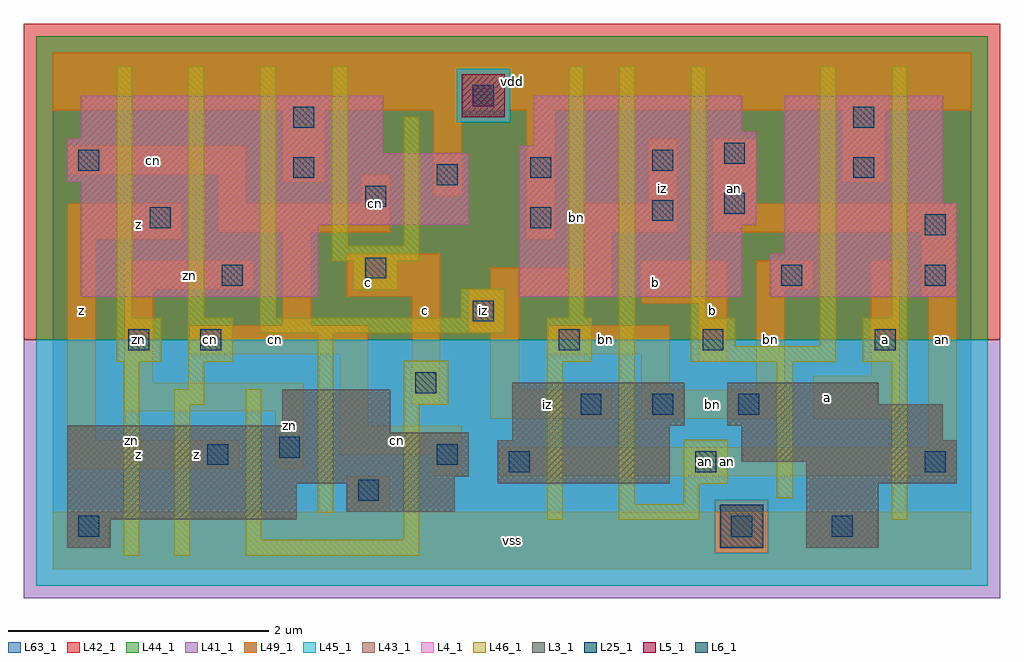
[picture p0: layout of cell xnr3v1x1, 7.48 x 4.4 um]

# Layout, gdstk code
import gdstk
lib = gdstk.Library(unit=1e-6, precision=1e-09)
def R(c, l, rs):  # rectangles x0, y0, x1, y1
    for r in rs: c.add(gdstk.rectangle(r[:2], r[2:], *l))
def A(c, l, x, y, w, h, nx, ny, dx, dy):  # array of equal rectangles
    R(c, l, [(x+i*dx, y+j*dy, x+i*dx+w, y+j*dy+h) for i in range(nx) for j in range(ny)])
L3_1 = (3, 1)
L4_1 = (4, 1)
L5_1 = (5, 1)
L6_1 = (6, 1)
L25_1 = (25, 1)
L41_1 = (41, 1)
L42_1 = (42, 1)
L43_1 = (43, 1)
L44_1 = (44, 1)
L45_1 = (45, 1)
L46_1 = (46, 1)
L49_1 = (49, 1)
L63_1 = (63, 1)

xnr3v1x1 = lib.new_cell('xnr3v1x1')
R(xnr3v1x1, L3_1, [(0.11,0.165,0.44,0.385), (5.775,0.165,6.325,0.66), (0.11,0.385,1.87,0.66), (2.255,0.44,3.08,0.66), (0.11,0.66,3.08,0.715), (3.41,0.66,4.73,0.99), (5.775,0.66,6.93,0.825), (0.11,0.715,3.19,1.045), (5.28,0.825,6.93,0.99), (3.52,0.99,4.73,1.1), (5.28,0.99,6.82,1.1), (0.11,1.045,2.585,1.1), (1.76,1.1,2.585,1.375), (3.52,1.1,4.84,1.43), (5.17,1.1,6.82,1.265), (5.17,1.265,6.325,1.43)])
R(xnr3v1x1, L4_1, [(0.22,2.09,2.035,2.64), (3.575,2.09,5.28,2.64), (5.5,2.09,6.93,2.42), (5.61,2.42,6.93,2.805), (0.22,2.64,3.19,2.97), (3.575,2.64,5.39,3.245), (5.61,2.805,6.82,3.63), (0.11,2.97,3.19,3.19), (0.11,3.19,2.53,3.3), (3.685,3.245,5.39,3.355), (0.22,3.3,2.53,3.63), (3.685,3.355,5.28,3.63)])
R(xnr3v1x1, L5_1, [(3.135,3.465,3.465,3.795)])
R(xnr3v1x1, L6_1, [(5.115,0.165,5.445,0.495)])
R(xnr3v1x1, L25_1, [(0.195,0.25,0.355,0.41), (5.2,0.25,5.36,0.41), (5.97,0.25,6.13,0.41), (2.34,0.525,2.5,0.685), (3.495,0.745,3.655,0.905), (4.925,0.745,5.085,0.905), (6.685,0.745,6.845,0.905), (1.185,0.8,1.345,0.96), (2.945,0.8,3.105,0.96), (1.735,0.855,1.895,1.015), (4.045,1.185,4.205,1.345), (4.595,1.185,4.755,1.345), (5.255,1.185,5.415,1.345), (2.78,1.35,2.94,1.51), (0.58,1.68,0.74,1.84), (1.13,1.68,1.29,1.84), (3.88,1.68,4.04,1.84), (4.98,1.68,5.14,1.84), (6.3,1.68,6.46,1.84), (3.22,1.9,3.38,2.06), (1.295,2.175,1.455,2.335), (5.585,2.175,5.745,2.335), (6.685,2.175,6.845,2.335), (2.395,2.23,2.555,2.39), (6.685,2.56,6.845,2.72), (0.745,2.615,0.905,2.775), (3.66,2.615,3.82,2.775), (4.595,2.67,4.755,2.83), (5.145,2.725,5.305,2.885), (2.395,2.78,2.555,2.94), (2.945,2.945,3.105,3.105), (1.845,3,2.005,3.16), (3.66,3,3.82,3.16), (6.135,3,6.295,3.16), (0.195,3.055,0.355,3.215), (4.595,3.055,4.755,3.215), (5.145,3.11,5.305,3.27), (1.845,3.385,2.005,3.545), (6.135,3.385,6.295,3.545), (3.22,3.55,3.38,3.71)])
R(xnr3v1x1, L41_1, [(-0.22,-0.22,7.26,1.76)])
R(xnr3v1x1, L42_1, [(-0.22,1.76,7.26,4.18)])
R(xnr3v1x1, L43_1, [(0.11,0.165,0.44,0.385), (5.115,0.165,5.445,0.495), (5.775,0.165,6.325,0.66), (0.11,0.385,1.87,0.66), (2.255,0.44,3.08,0.66), (0.11,0.66,3.08,0.715), (3.41,0.66,4.73,0.99), (5.775,0.66,6.93,0.825), (0.11,0.715,3.19,1.045), (5.28,0.825,6.93,0.99), (3.52,0.99,4.73,1.1), (5.28,0.99,6.82,1.1), (0.11,1.045,2.585,1.1), (1.76,1.1,2.585,1.375), (3.52,1.1,4.84,1.43), (5.17,1.1,6.82,1.265), (5.17,1.265,6.325,1.43), (0.22,2.09,2.035,2.64), (3.575,2.09,5.28,2.64), (5.5,2.09,6.93,2.42), (5.61,2.42,6.93,2.805), (0.22,2.64,3.19,2.97), (3.575,2.64,5.39,3.245), (5.61,2.805,6.82,3.63), (0.11,2.97,3.19,3.19), (0.11,3.19,2.53,3.3), (3.685,3.245,5.39,3.355), (0.22,3.3,2.53,3.63), (3.685,3.355,5.28,3.63), (3.135,3.465,3.465,3.795)])
R(xnr3v1x1, L44_1, [(5.075,0.125,5.485,0.535), (-0.125,1.76,7.165,3.425), (-0.125,3.425,3.095,3.835), (3.505,3.425,7.165,3.835), (-0.125,3.835,7.165,4.085)])
R(xnr3v1x1, L45_1, [(-0.125,-0.125,7.165,0.125), (-0.125,0.125,5.075,0.535), (5.485,0.125,7.165,0.535), (-0.125,0.535,7.165,1.76), (3.095,3.425,3.505,3.835)])
A(xnr3v1x1, L46_1, 0.49, 1.93, 0.12, 1.925, 3, 1, 0.55, 0)
R(xnr3v1x1, L46_1, [(0.545,0.105,0.665,1.59), (0.93,0.105,1.05,1.26), (1.48,0.105,2.81,0.225), (1.48,0.225,1.6,1.38), (2.69,0.225,2.81,1.26), (3.79,0.38,3.91,1.59), (4.34,0.38,4.955,0.5), (6.43,0.38,6.55,1.59), (2.03,0.435,2.15,1.81), (4.34,0.5,4.46,3.855), (4.835,0.5,4.955,0.655), (5.55,0.545,5.67,1.59), (4.835,0.655,5.175,0.995), (0.93,1.26,1.16,1.38), (2.69,1.26,3.03,1.6), (1.04,1.38,1.16,1.59), (0.49,1.59,0.83,1.93), (1.04,1.59,1.38,1.93), (3.79,1.59,4.13,1.93), (4.89,1.59,6,1.71), (6.21,1.59,6.55,1.93), (4.89,1.71,5.23,1.93), (5.88,1.71,6,3.855), (1.59,1.81,3.47,1.93), (3.13,1.93,3.47,2.15), (3.955,1.93,4.075,3.855), (4.89,1.93,5.01,3.855), (6.43,1.93,6.55,3.855), (2.305,2.14,2.645,2.36), (2.14,2.36,2.81,2.48), (2.14,2.48,2.26,3.855), (2.69,2.48,2.81,3.47)])
R(xnr3v1x1, L49_1, [(0,0,7.04,0.44), (2.255,0.44,2.585,0.715), (2.915,0.715,3.135,0.88), (3.41,0.715,6.93,0.935), (0.11,0.77,1.43,0.99), (1.705,0.77,1.925,1.21), (2.2,0.88,3.135,1.1), (6.71,0.935,6.93,2.09), (0.11,0.99,0.33,2.53), (2.2,1.1,2.42,1.65), (3.355,1.155,4.29,1.375), (4.51,1.155,5.61,1.375), (5.83,1.155,6.49,1.485), (0.55,1.21,1.925,1.43), (2.75,1.265,2.97,2.09), (3.355,1.375,3.575,1.815), (4.51,1.375,4.73,1.65), (5.39,1.375,5.61,2.145), (0.55,1.43,0.77,2.145), (6.27,1.485,6.49,2.365), (4.95,1.595,5.17,2.035), (1.045,1.65,2.42,1.87), (3.795,1.65,4.73,1.87), (3.19,1.815,3.575,2.09), (1.76,1.87,1.98,2.585), (4.51,2.035,5.17,2.365), (2.255,2.09,2.97,2.42), (3.19,2.09,4.29,2.145), (6.655,2.09,6.93,2.585), (0.55,2.145,1.54,2.365), (3.355,2.145,4.29,2.31), (5.39,2.145,5.83,2.365), (4.07,2.31,4.29,2.585), (0.11,2.53,0.99,2.805), (3.63,2.53,3.85,3.52), (1.265,2.585,2.585,2.805), (4.07,2.585,4.785,2.805), (5.06,2.585,6.93,2.805), (1.265,2.805,1.485,3.025), (2.365,2.805,2.585,3.025), (4.565,2.805,4.785,3.3), (5.06,2.805,5.39,3.3), (2.915,2.86,3.135,3.52), (1.76,2.97,2.09,3.52), (6.05,2.97,6.38,3.52), (0.11,3.025,1.485,3.245), (0,3.52,7.04,3.96)])
R(xnr3v1x1, L63_1, [(0,0,7.04,3.96)])
xnr3v1x1.add(gdstk.Label('zn', (0.605,0.99), layer=46, texttype=1))
xnr3v1x1.add(gdstk.Label('cn', (1.21,1.76), layer=49, texttype=1))
xnr3v1x1.add(gdstk.Label('iz', (3.3,1.98), layer=49, texttype=1))
xnr3v1x1.add(gdstk.Label('bn', (4.015,2.695), layer=46, texttype=1))
xnr3v1x1.add(gdstk.Label('an', (5.005,0.825), layer=49, texttype=1))
xnr3v1x1.add(gdstk.Label('z', (0.66,0.88), layer=49, texttype=1))
xnr3v1x1.add(gdstk.Label('z', (1.1,0.88), layer=49, texttype=1))
xnr3v1x1.add(gdstk.Label('z', (0.22,1.98), layer=49, texttype=1))
xnr3v1x1.add(gdstk.Label('zn', (0.66,1.76), layer=49, texttype=1))
xnr3v1x1.add(gdstk.Label('z', (0.66,2.64), layer=49, texttype=1))
xnr3v1x1.add(gdstk.Label('zn', (1.815,1.1), layer=49, texttype=1))
xnr3v1x1.add(gdstk.Label('cn', (1.705,1.76), layer=49, texttype=1))
xnr3v1x1.add(gdstk.Label('c', (2.42,2.2), layer=49, texttype=1))
xnr3v1x1.add(gdstk.Label('zn', (1.045,2.255), layer=49, texttype=1))
xnr3v1x1.add(gdstk.Label('cn', (2.475,2.805), layer=49, texttype=1))
xnr3v1x1.add(gdstk.Label('cn', (0.77,3.135), layer=49, texttype=1))
xnr3v1x1.add(gdstk.Label('vss', (3.52,0.22), layer=49, texttype=1))
xnr3v1x1.add(gdstk.Label('cn', (2.64,0.99), layer=49, texttype=1))
xnr3v1x1.add(gdstk.Label('c', (2.86,1.98), layer=49, texttype=1))
xnr3v1x1.add(gdstk.Label('iz', (3.355,1.98), layer=49, texttype=1))
xnr3v1x1.add(gdstk.Label('vdd', (3.52,3.74), layer=49, texttype=1))
xnr3v1x1.add(gdstk.Label('iz', (3.795,1.265), layer=49, texttype=1))
xnr3v1x1.add(gdstk.Label('bn', (5.06,1.265), layer=49, texttype=1))
xnr3v1x1.add(gdstk.Label('bn', (4.235,1.76), layer=49, texttype=1))
xnr3v1x1.add(gdstk.Label('b', (5.06,1.98), layer=49, texttype=1))
xnr3v1x1.add(gdstk.Label('b', (4.62,2.2), layer=49, texttype=1))
xnr3v1x1.add(gdstk.Label('bn', (5.5,1.76), layer=49, texttype=1))
xnr3v1x1.add(gdstk.Label('iz', (4.675,2.915), layer=49, texttype=1))
xnr3v1x1.add(gdstk.Label('an', (5.225,2.915), layer=49, texttype=1))
xnr3v1x1.add(gdstk.Label('an', (5.17,0.825), layer=49, texttype=1))
xnr3v1x1.add(gdstk.Label('a', (5.94,1.32), layer=49, texttype=1))
xnr3v1x1.add(gdstk.Label('a', (6.38,1.76), layer=49, texttype=1))
xnr3v1x1.add(gdstk.Label('an', (6.82,1.76), layer=49, texttype=1))

lib.write_gds('xnr3v1x1.gds')
